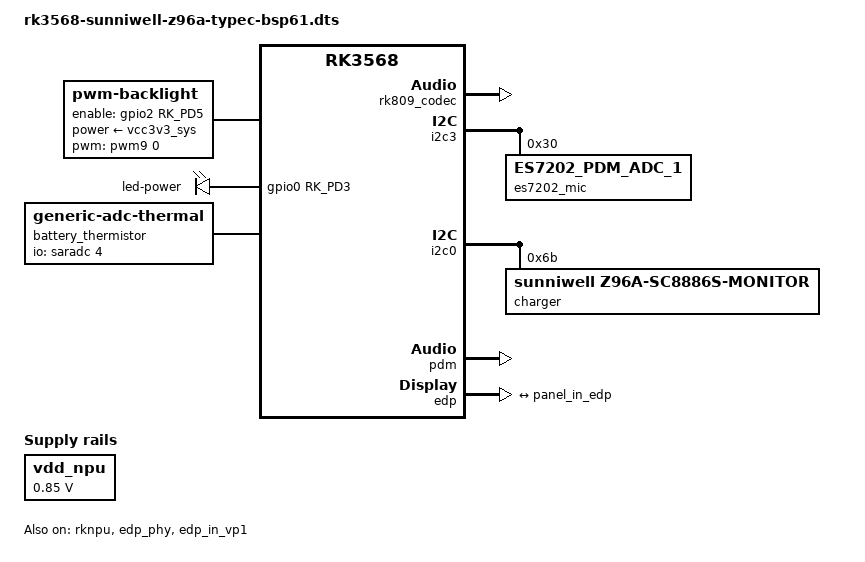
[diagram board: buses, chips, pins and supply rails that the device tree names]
// SPDX-License-Identifier: (GPL-2.0+ OR MIT)

/dts-v1/;

#include "rk3568-sunniwell-z96a-typec-board.dtsi"

/* Keep the VPLL output mux in the mode selected by the bootloader. */
&vop {
	assigned-clocks = <&cru DCLK_VOP0>, <&cru DCLK_VOP1>;
	assigned-clock-parents = <&pmucru PLL_HPLL>, <&cru PLL_VPLL>;
	/delete-property/ assigned-clock-rates;
};

/*
 * Match the working factory handoff even if U-Boot cannot load a resource
 * partition (e.g. the full LBA0 image). In that case the BSP's defaults
 * otherwise put Smart1 on eDP's VP1 and the Niri session can scan out black.
 */
&vp0 {
	rockchip,plane-mask = <0x2a>; /* Cluster1, Esmart1, Smart1 */
	rockchip,primary-plane = <5>; /* Smart1 */
};

&vp1 {
	rockchip,plane-mask = <0x15>; /* Cluster0, Esmart0, Smart0 */
	rockchip,primary-plane = <4>; /* Smart0 */
};

/* Keep the independent NPU bus voltage scaler off as in the hardware trial. */
&bus_npu {
	status = "disabled";
};

/* The raw-disk image's U-Boot may leave DCDC4 at 500 mV. */
&vdd_npu {
	regulator-min-microvolt = <850000>;
};

/* Ensure DCDC4 is configured before the NPU IOMMU attaches to genpd. */
&power {
	npu-supply = <&vdd_npu>;
};

/* Cap both the initial frequency and available OPPs at the standard 600 MHz. */
&npu_opp_table {
	rockchip,init-freq = <600000>;
	/delete-node/ opp-700000000;
	/delete-node/ opp-800000000;
	/delete-node/ opp-900000000;
	/delete-node/ opp-1000000000;
	/delete-node/ opp-m-900000000;

	opp-600000000 {
		opp-microvolt = <875000 875000 1000000>;
	};
};

&npu_opp_j_od_800000000 {
	status = "disabled";
};

&rknpu {
	rknpu-supply = <&vdd_npu>;
	status = "okay";
};

&rknpu_mmu {
	status = "okay";
};

/ {
	backlight: backlight {
		compatible = "pwm-backlight";
		brightness-levels = <20 220>;
		default-brightness-level = <200>;
		enable-gpios = <&gpio2 RK_PD5 GPIO_ACTIVE_HIGH>;
		num-interpolated-steps = <200>;
		power-supply = <&vcc3v3_sys>;
		pwms = <&pwm9 0 25000 0>;
	};

	leds {
		compatible = "gpio-leds";

		led-power {
			gpios = <&gpio0 RK_PD3 GPIO_ACTIVE_HIGH>;
			default-state = "on";
			function = "power";
		};
	};

	battery_thermistor: battery-thermistor {
		compatible = "generic-adc-thermal";
		#thermal-sensor-cells = <0>;
		io-channels = <&saradc 4>;
		io-channel-names = "sensor-channel";
		/* Jun Yan's Z96A curve: 10 kOhm NTC, 10 kOhm pull-up to 1.8 V. */
		temperature-lookup-table = <
			(-20000) 1629	(-19000) 1621	(-18000) 1612	(-17000) 1603
			(-16000) 1592	(-15000) 1580	(-14000) 1570	(-13000) 1560
			(-12000) 1548	(-11000) 1535	(-10000) 1521	(-9000) 1510
			(-8000) 1497	(-7000) 1484	(-6000) 1469	(-5000) 1453
			(-4000) 1439	(-3000) 1425	(-2000) 1410	(-1000) 1393
			0 1375		1000 1360	2000 1344	3000 1327
			4000 1308	5000 1289	6000 1272	7000 1255
			8000 1237	9000 1217	10000 1196	11000 1178
			12000 1160	13000 1141	14000 1120	15000 1098
			16000 1080	17000 1062	18000 1042	19000 1021
			20000 999	21000 981	22000 962	23000 942
			24000 921	25000 900	26000 882	27000 864
			28000 845	29000 825	30000 804	31000 787
			32000 769	33000 751	34000 732	35000 713
			36000 697	37000 680	38000 663	39000 646
			40000 628	41000 613	42000 598	43000 582
			44000 566	45000 550	46000 537	47000 523
			48000 509	49000 495	50000 480	51000 468
			52000 456	53000 443	54000 430	55000 417
			56000 407	57000 396	58000 385	59000 374
			60000 362
		>;
	};

	pdm-sound {
		compatible = "simple-audio-card";
		simple-audio-card,name = "es7202-mic";
		simple-audio-card,format = "pdm";
		simple-audio-card,mclk-fs = <256>;

		simple-audio-card,cpu {
			sound-dai = <&pdm>;
		};
		simple-audio-card,codec {
			sound-dai = <&es7202_mic>;
		};
	};
};

&thermal_zones {
	battery-thermal {
		polling-delay-passive = <0>;
		polling-delay = <0>;
		thermal-sensors = <&battery_thermistor>;
	};
};

/* BSP RK817 selects the playback path through mixer controls. */
&rk809_sound {
	/delete-property/ simple-audio-card,aux-devs;
	/delete-property/ simple-audio-card,routing;
	/delete-property/ simple-audio-card,widgets;
	/delete-property/ simple-audio-card,pin-switches;

	simple-audio-card,codec {
		sound-dai = <&rk809_codec>;
	};
};

&spk_amp {
	status = "disabled";
};

&rk809 {
	rk809_codec: codec {
		compatible = "rockchip,rk809-codec", "rockchip,rk817-codec";
		#sound-dai-cells = <0>;
		clocks = <&cru I2S1_MCLKOUT_TX>;
		clock-names = "mclk";
		pinctrl-names = "default";
		pinctrl-0 = <&spk_amp_en>;
		hp-volume = <0x14>;
		spk-volume = <0x03>;
		mic-in-differential;
		use-ext-amplifier;
		spk-ctl-gpios = <&gpio3 RK_PA6 GPIO_ACTIVE_HIGH>;
	};
};

&i2c3 {
	es7202_mic: codec@30 {
		/* Compatible used by the BSP ES7202 driver and the factory DT. */
		compatible = "ES7202_PDM_ADC_1";
		reg = <0x30>;
		#sound-dai-cells = <0>;
	};
};

&i2c0 {
	charger@6b {
		compatible = "sunniwell,z96a-sc8886s-monitor";
		reg = <0x6b>;
	};
};

&pdm {
	pinctrl-0 = <&pdmm0_clk1 &pdmm0_sdi1>;
	/* The internal microphone ADC is on SDI1. */
	rockchip,path-map = <1 3 0 2>;
	status = "okay";
};

&edp_phy {
	status = "okay";
};

&edp {
	force-hpd;
	status = "okay";

	ports {
		port@1 {
			reg = <1>;

			edp_out_panel: endpoint {
				remote-endpoint = <&panel_in_edp>;
			};
		};
	};

	aux-bus {
		panel {
			compatible = "edp-panel";
			backlight = <&backlight>;
			power-supply = <&vcc3v3_lcd0_n>;
			no-hpd;

			port {
				panel_in_edp: endpoint {
					remote-endpoint = <&edp_out_panel>;
				};
			};
		};
	};
};

&edp_in_vp1 {
	status = "okay";
};

&rtl8822cs {
	realtek,disable-lps-deep;
};

/* Keep VOP DMA translation and skip the failing MMU reset command. */
&vop_mmu {
	rockchip,disable-mmu-reset;
};

/* Panfrost uses the standard GPU clock and interrupt names. */
&gpu {
	operating-points-v2 = <&z96a_gpu_opp_table>;
	compatible = "rockchip,rk3568-mali", "arm,mali-bifrost";
	interrupts = <GIC_SPI 40 IRQ_TYPE_LEVEL_HIGH>,
		     <GIC_SPI 41 IRQ_TYPE_LEVEL_HIGH>,
		     <GIC_SPI 39 IRQ_TYPE_LEVEL_HIGH>;
	interrupt-names = "job", "mmu", "gpu";
	clock-names = "gpu", "bus";
};

/* Use the Z96A mainline GPU OPPs through 600 MHz. */
/ {
	z96a_gpu_opp_table: opp-table-gpu-z96a {
		compatible = "operating-points-v2";

		opp-200000000 {
			opp-hz = /bits/ 64 <200000000>;
			opp-microvolt = <850000 850000 1000000>;
		};

		opp-300000000 {
			opp-hz = /bits/ 64 <300000000>;
			opp-microvolt = <850000 850000 1000000>;
		};

		opp-400000000 {
			opp-hz = /bits/ 64 <400000000>;
			opp-microvolt = <850000 850000 1000000>;
		};

		opp-600000000 {
			opp-hz = /bits/ 64 <600000000>;
			opp-microvolt = <900000 900000 1000000>;
		};
	};
};
